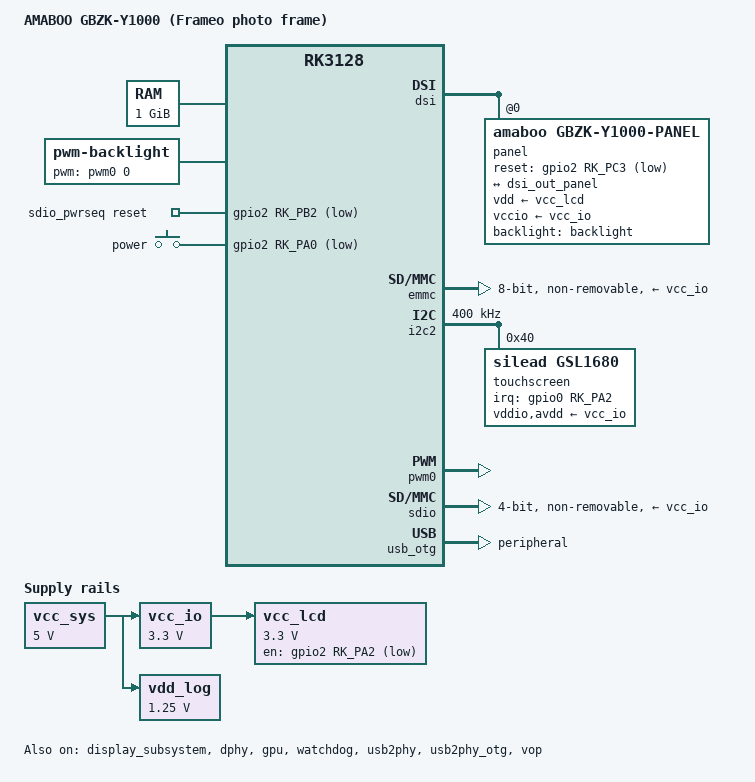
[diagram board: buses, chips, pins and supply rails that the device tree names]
// SPDX-License-Identifier: (GPL-2.0+ OR MIT)
/*
 * AMABOO GBZK-Y1000, a 10.1" Frameo photo frame: Rockchip RK3126, 1 GB DDR3, 32 GB eMMC, an
 * 800x1280 MIPI DSI panel (Jadard JD9365DA, 4 lanes), a Silead GSL touch controller, an AIC8800
 * Wi-Fi + BT chip on SDIO, one power button, no RTC (the vendor's tree has an HYM8563 at i2c2
 * 0x51: nothing answers there). Pins come from the vendor's device
 * tree (Android 6, kernel 3.10; docs/frame.md).
 *
 * Nothing drives the CPU's rail: the vendor's tree names a regulator on PWM1, but its kernel never
 * got it (« can't get regulator(vdd_arm) », the PWM node disabled) and PWM1's registers read zero
 * under U-Boot's state. So no cpu-supply: the OPPs below change the clock alone, their voltages
 * are not applied. GPIO0_A0 holds the power on (the vendor's gpio-poweroff): never claimed here.
 */

/dts-v1/;
#include <dt-bindings/input/input.h>
#include "rk3128.dtsi"

/ {
	model = "AMABOO GBZK-Y1000 (Frameo photo frame)";
	compatible = "amaboo,gbzk-y1000", "rockchip,rk3128";

	aliases {
		mmc0 = &emmc;
		mmc1 = &sdio;
	};

	memory@60000000 {
		device_type = "memory";
		reg = <0x60000000 0x40000000>;
	};

	backlight: backlight {
		compatible = "pwm-backlight";
		pwms = <&pwm0 0 25000 0>;
		brightness-levels = <0 255>;
		num-interpolated-steps = <255>;
		default-brightness-level = <128>;
	};

	/*
	 * The AIC8800DC's power enable (the vendor's WIFI,poweren_gpio, active high), with the
	 * vendor's delays (its boot log): 100 ms off, a wait while the chip boots.
	 */
	sdio_pwrseq: sdio-pwrseq {
		compatible = "mmc-pwrseq-simple";
		reset-gpios = <&gpio2 RK_PB2 GPIO_ACTIVE_LOW>;
		post-power-on-delay-ms = <200>;
		power-off-delay-us = <100000>;
	};

	gpio-keys {
		compatible = "gpio-keys";

		key-power {
			gpios = <&gpio2 RK_PA0 GPIO_ACTIVE_LOW>;
			linux,code = <KEY_POWER>;
			label = "power";
			wakeup-source;
		};
	};


	vcc_sys: regulator-vcc-sys {
		compatible = "regulator-fixed";
		regulator-name = "vcc_sys";
		regulator-min-microvolt = <5000000>;
		regulator-max-microvolt = <5000000>;
		regulator-always-on;
		regulator-boot-on;
	};

	vcc_io: regulator-vcc-io {
		compatible = "regulator-fixed";
		regulator-name = "vcc_io";
		regulator-min-microvolt = <3300000>;
		regulator-max-microvolt = <3300000>;
		vin-supply = <&vcc_sys>;
		regulator-always-on;
		regulator-boot-on;
	};

	/* the vendor's fixed vdd_logic */
	vdd_log: regulator-vdd-log {
		compatible = "regulator-fixed";
		regulator-name = "vdd_log";
		regulator-min-microvolt = <1250000>;
		regulator-max-microvolt = <1250000>;
		vin-supply = <&vcc_sys>;
		regulator-always-on;
		regulator-boot-on;
	};

	/*
	 * The panel's power (the vendor's mipi_lcd_en, active low), on as U-Boot left it: without
	 * boot-on the regulator is switched off as it registers, and the panel goes black with it
	 * (seen on the frame). Always on for now (bring-up).
	 */
	vcc_lcd: regulator-vcc-lcd {
		compatible = "regulator-fixed";
		regulator-name = "vcc_lcd";
		regulator-min-microvolt = <3300000>;
		regulator-max-microvolt = <3300000>;
		gpio = <&gpio2 RK_PA2 GPIO_ACTIVE_LOW>;
		vin-supply = <&vcc_io>;
		startup-delay-us = <20000>;
		regulator-boot-on;
		regulator-always-on;
	};
};

/*
 * The clock's steps on the fixed rail: 1008 MHz held under load on all four cores, errors checked
 * (docs/frame.md); the dtsi's 1200 MHz stays out, unproven, as the vendor's table stops there too.
 */
&cpu_opp_table {
	/delete-node/ opp-1200000000;
};

&cpu0 {
	clock-frequency = <1008000000>;
};

&cpu1 {
	clock-frequency = <1008000000>;
};

&cpu2 {
	clock-frequency = <1008000000>;
};

&cpu3 {
	clock-frequency = <1008000000>;
};

&display_subsystem {
	status = "okay";
};

/*
 * PD_VIO (the VOP, the DSI and its PHY) stays as U-Boot left it, on: switching it off as idle,
 * mainline's power-domain driver reads a PMU register this RK3126 faults on (an external abort
 * at offset 0x88, seen on the frame) and the kernel dies with its interrupts off.
 */
&dphy {
	/delete-property/ power-domains;
	status = "okay";
};

&dsi {
	/delete-property/ power-domains;
	#address-cells = <1>;
	#size-cells = <0>;
	status = "okay";

	panel@0 {
		compatible = "amaboo,gbzk-y1000-panel";
		reg = <0>;
		backlight = <&backlight>;
		vdd-supply = <&vcc_lcd>;
		vccio-supply = <&vcc_io>;
		/* the vendor's mipi_lcd_rst */
		reset-gpios = <&gpio2 RK_PC3 GPIO_ACTIVE_LOW>;
		/* the panel is mounted upside down for a frame standing in portrait */
		rotation = <180>;

		port {
			panel_in_dsi: endpoint {
				remote-endpoint = <&dsi_out_panel>;
			};
		};
	};
};

&dsi_out {
	dsi_out_panel: endpoint {
		remote-endpoint = <&panel_in_dsi>;
	};
};

&emmc {
	bus-width = <8>;
	vmmc-supply = <&vcc_io>;
	pinctrl-names = "default";
	pinctrl-0 = <&emmc_clk &emmc_cmd &emmc_bus8>;
	cap-mmc-highspeed;
	non-removable;
	no-sd;
	no-sdio;
	status = "okay";
};

&gpu {
	mali-supply = <&vdd_log>;
	status = "okay";
};

&i2c2 {
	/* the touch's firmware and each of its reports, four times faster */
	clock-frequency = <400000>;
	status = "okay";

	touchscreen@40 {
		compatible = "silead,gsl1680";
		reg = <0x40>;
		interrupt-parent = <&gpio0>;
		interrupts = <RK_PA2 IRQ_TYPE_LEVEL_HIGH>;
		vddio-supply = <&vcc_io>;
		avdd-supply = <&vcc_io>;
		/* extracted from the vendor kernel (docs/frame.md) */
		firmware-name = "gsl-amaboo-gbzk-y1000.fw";	/* the driver looks in silead/ */
		/*
		 * The firmware's own axes, measured on the frame (taps on targets, raw events against the
		 * page's): its x runs down the panel standing in portrait (0..1024), its y across
		 * (0..640). The sizes are the chip's axes, before the swap.
		 */
		touchscreen-swapped-x-y;
		touchscreen-size-x = <1024>;
		touchscreen-size-y = <640>;
		silead,max-fingers = <5>;
	};
};

&pwm0 {
	status = "okay";
};

&sdio {
	bus-width = <4>;
	pinctrl-names = "default";
	/* the controller's own PWREN pin powers the card, as the vendor's tree muxes it */
	pinctrl-0 = <&sdio_clk &sdio_cmd &sdio_bus4 &sdio_pwren>;
	cap-sd-highspeed;
	cap-sdio-irq;
	keep-power-in-suspend;
	mmc-pwrseq = <&sdio_pwrseq>;
	vmmc-supply = <&vcc_io>;
	non-removable;
	no-mmc;
	no-sd;
	status = "okay";
};

/*
 * The SDIO lines have the board's own pull-ups: the SoC's default pulls (down) are off, as the
 * vendor sets them; with them the AIC8800DC never answers CMD5 (seen on the frame).
 */
&sdio_cmd {
	rockchip,pins = <0 RK_PA3 2 &pcfg_pull_none>;
};

&sdio_bus4 {
	rockchip,pins = <1 RK_PA1 2 &pcfg_pull_none>,
			<1 RK_PA2 2 &pcfg_pull_none>,
			<1 RK_PA4 2 &pcfg_pull_none>,
			<1 RK_PA5 2 &pcfg_pull_none>;
};

&sdio_pwren {
	rockchip,pins = <0 RK_PD6 1 &pcfg_pull_none>;
};

/*
 * The architected timers do all the work, read in one instruction; these six, mainline's driver
 * takes one and refuses the others, and it would make sched_clock a read across the APB bus.
 */
&timer0 {
	status = "disabled";
};

&timer1 {
	status = "disabled";
};

&timer2 {
	status = "disabled";
};

&timer3 {
	status = "disabled";
};

&timer4 {
	status = "disabled";
};

&timer5 {
	status = "disabled";
};

/* systemd feeds it (RuntimeWatchdogSec): a frozen frame restarts alone */
&watchdog {
	status = "okay";
};

/* the USB-C port as a device: a console over USB (CDC ACM) while there is no UART */
&usb_otg {
	dr_mode = "peripheral";
	vusb_d-supply = <&vcc_io>;
	vusb_a-supply = <&vcc_io>;
	status = "okay";
};

&usb2phy {
	status = "okay";
};

&usb2phy_otg {
	status = "okay";
};

&vop {
	/delete-property/ power-domains;	/* PD_VIO: see &dphy */
	status = "okay";
};
